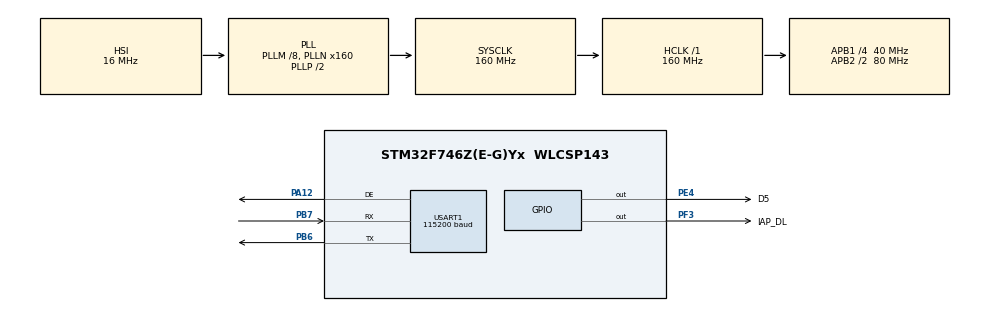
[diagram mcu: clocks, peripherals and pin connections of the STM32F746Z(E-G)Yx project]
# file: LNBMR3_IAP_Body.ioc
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Mcu.Family=STM32F7
Mcu.Name=STM32F746Z(E-G)Yx
Mcu.Package=WLCSP143
NVIC.PriorityGroup=NVIC_PRIORITYGROUP_3
NVIC.USART1_IRQn=true\:1\:1\:true\:false\:true\:true\:true
PA12.Mode=Hardware Flow Control (RS485)
PA12.Signal=USART1_DE
PA13.Mode=Serial_Wire
PA13.Signal=SYS_JTMS-SWDIO
PA14.Mode=Serial_Wire
PA14.Signal=SYS_JTCK-SWCLK
PB6.Mode=Asynchronous
PB6.Signal=USART1_TX
PB7.Mode=Asynchronous
PB7.Signal=USART1_RX
PC9.Signal=I2C3_SDA
PE4.GPIO_Label=D5
PE4.Signal=GPIO_Output
PF3.GPIO_Label=IAP_DL
PF3.GPIO_Speed=GPIO_SPEED_FREQ_VERY_HIGH
PF3.Signal=GPIO_Output
ProjectManager.HeapSize=0x200
ProjectManager.StackSize=0x400
ProjectManager.TargetToolchain=MDK-ARM V5
RCC.AHBFreq_Value=160000000
RCC.APB1CLKDivider=RCC_HCLK_DIV4
RCC.APB1Freq_Value=40000000
RCC.APB1TimFreq_Value=80000000
RCC.APB2CLKDivider=RCC_HCLK_DIV2
RCC.APB2Freq_Value=80000000
RCC.APB2TimFreq_Value=160000000
RCC.CortexFreq_Value=160000000
RCC.HCLKFreq_Value=160000000
RCC.HSE_VALUE=25000000
RCC.HSI_VALUE=16000000
RCC.LSE_VALUE=32768
RCC.PLLM=8
RCC.PLLN=160
RCC.SYSCLKFreq_VALUE=160000000
RCC.SYSCLKSource=RCC_SYSCLKSOURCE_PLLCLK
RCC.USART1CLockSelection=RCC_USART1CLKSOURCE_SYSCLK
RCC.USBFreq_Value=160000000
RCC.VCOOutputFreq_Value=320000000
USART1.BaudRate=115200
USART1.VirtualMode-Asynchronous=VM_ASYNC
USART1.VirtualMode-Hardware\ Flow\ Control\ (RS485)=VM_ASYNC
board=custom

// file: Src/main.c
/* USER CODE BEGIN Header */
/**
  ******************************************************************************
  * @file           : main.c
  * @brief          : Main program body
  ******************************************************************************
  * @attention
  *
  * <h2><center>&copy; Copyright (c) 2020 STMicroelectronics.
  * All rights reserved.</center></h2>
  *
  * This software component is licensed by ST under BSD 3-Clause license,
  * the "License"; You may not use this file except in compliance with the
  * License. You may obtain a copy of the License at:
  *                        opensource.org/licenses/BSD-3-Clause
  *
  ******************************************************************************
  */
/* USER CODE END Header */

#include "main.h"
#include "menu.h"
#include <stdio.h>
/* USER CODE BEGIN Includes */
#ifdef __GNUC__
/* With GCC/RAISONANCE, small printf (option LD Linker->Libraries->Small printf
   set to 'Yes') calls __io_putchar() */
#define PUTCHAR_PROTOTYPE int __io_putchar(int ch)
#else
#define PUTCHAR_PROTOTYPE int fputc(int ch, FILE *f)
#endif /* __GNUC__ */
/* USER CODE END Includes */
void SerialDownload(void);
void SerialUpload(void);

extern pFunction JumpToApplication;
extern uint32_t JumpAddress;
/* UART handler declaration */
GPIO_InitTypeDef GPIO_InitStruct;
UART_HandleTypeDef huart1;

void SystemClock_Config(void);
static void MX_GPIO_Init(void);
static void MX_USART1_UART_Init(void);

int main(void)
{

  /* MCU Configuration--------------------------------------------------------*/

  /* Reset of all peripherals, Initializes the Flash interface and the Systick. */
  HAL_Init();

  /* Configure the system clock */
  SystemClock_Config();

  /* Initialize all configured peripherals */
  MX_GPIO_Init();
  MX_USART1_UART_Init();
  /* USER CODE BEGIN 2 */
	/* Output a message on Hyperterminal using printf function */
//  printf("\n\r LNBMR3 V2 PCB IAP via RS485\n\r");
//  printf("** Test finished successfully. ** \n\r");
//	printf("** GPIO SWDL Init successfully, Enter loop. ** \n\r");
//	HAL_Delay(1000);

	/* Test if Key push-button on STM327x6G-EVAL RevB Board is pressed */
  if (HAL_GPIO_ReadPin(IAP_DL_GPIO_Port, IAP_DL_Pin) == GPIO_PIN_SET)
  {
    /* Execute the IAP driver in order to reprogram the Flash */
    //IAP_Init();
    /* Display main menu */
    Main_Menu ();
  }
  /* Keep the user application running */
  else
  {

		/* Test if user code is programmed starting from address "APPLICATION_ADDRESS" */
		if (((*(__IO uint32_t*)APPLICATION_ADDRESS) & 0x2FFE0000 ) == 0x20000000)
    {
      //printf("**App Stack Pointer check loop\n\r");
			/* Jump to user application */
			//printf("**Jump to user application\n\r");
      JumpAddress = *(__IO uint32_t*) (APPLICATION_ADDRESS + 4);
      JumpToApplication = (pFunction) JumpAddress;
      /* Initialize user application's Stack Pointer */
      __set_MSP(*(__IO uint32_t*) APPLICATION_ADDRESS);
			//printf("**Initialize user application's Stack Pointer\n\r");
      JumpToApplication();
			//printf("**JumpToApplication\n\r");
    }
		else
		{
			printf("**App Stack Pointer check Fail\n\r");
		}
  }
  /* USER CODE END 2 */

  /* Infinite loop */
  while (1)
  {

  }
}

void SystemClock_Config(void)
{
  RCC_OscInitTypeDef RCC_OscInitStruct = {0};
  RCC_ClkInitTypeDef RCC_ClkInitStruct = {0};
  RCC_PeriphCLKInitTypeDef PeriphClkInitStruct = {0};

  /** Configure the main internal regulator output voltage
  */
  __HAL_RCC_PWR_CLK_ENABLE();
  __HAL_PWR_VOLTAGESCALING_CONFIG(PWR_REGULATOR_VOLTAGE_SCALE2);
  /** Initializes the CPU, AHB and APB busses clocks
  */
  RCC_OscInitStruct.OscillatorType = RCC_OSCILLATORTYPE_HSI;
  RCC_OscInitStruct.HSIState = RCC_HSI_ON;
  RCC_OscInitStruct.HSICalibrationValue = RCC_HSICALIBRATION_DEFAULT;
  RCC_OscInitStruct.PLL.PLLState = RCC_PLL_ON;
  RCC_OscInitStruct.PLL.PLLSource = RCC_PLLSOURCE_HSI;
  RCC_OscInitStruct.PLL.PLLM = 8;
  RCC_OscInitStruct.PLL.PLLN = 160;
  RCC_OscInitStruct.PLL.PLLP = RCC_PLLP_DIV2;
  RCC_OscInitStruct.PLL.PLLQ = 2;
  if (HAL_RCC_OscConfig(&RCC_OscInitStruct) != HAL_OK)
  {
    Error_Handler();
  }
  /** Initializes the CPU, AHB and APB busses clocks
  */
  RCC_ClkInitStruct.ClockType = RCC_CLOCKTYPE_HCLK|RCC_CLOCKTYPE_SYSCLK
                              |RCC_CLOCKTYPE_PCLK1|RCC_CLOCKTYPE_PCLK2;
  RCC_ClkInitStruct.SYSCLKSource = RCC_SYSCLKSOURCE_PLLCLK;
  RCC_ClkInitStruct.AHBCLKDivider = RCC_SYSCLK_DIV1;
  RCC_ClkInitStruct.APB1CLKDivider = RCC_HCLK_DIV4;
  RCC_ClkInitStruct.APB2CLKDivider = RCC_HCLK_DIV2;

  if (HAL_RCC_ClockConfig(&RCC_ClkInitStruct, FLASH_LATENCY_5) != HAL_OK)
  {
    Error_Handler();
  }
  PeriphClkInitStruct.PeriphClockSelection = RCC_PERIPHCLK_USART1;
  PeriphClkInitStruct.Usart1ClockSelection = RCC_USART1CLKSOURCE_SYSCLK;
  if (HAL_RCCEx_PeriphCLKConfig(&PeriphClkInitStruct) != HAL_OK)
  {
    Error_Handler();
  }
}

static void MX_USART1_UART_Init(void)
{

  huart1.Instance = USART1;
  huart1.Init.BaudRate = 115200;
  huart1.Init.WordLength = UART_WORDLENGTH_8B;
  huart1.Init.StopBits = UART_STOPBITS_1;
  huart1.Init.Parity = UART_PARITY_NONE;
  huart1.Init.Mode = UART_MODE_TX_RX;
  huart1.Init.HwFlowCtl = UART_HWCONTROL_NONE;
  huart1.Init.OverSampling = UART_OVERSAMPLING_16;
  huart1.Init.OneBitSampling = UART_ONE_BIT_SAMPLE_DISABLE;
  huart1.AdvancedInit.AdvFeatureInit = UART_ADVFEATURE_NO_INIT;
  if (HAL_RS485Ex_Init(&huart1, UART_DE_POLARITY_HIGH, 0, 0) != HAL_OK)
  {
    Error_Handler();
  }

}

static void MX_GPIO_Init(void)
{
  GPIO_InitTypeDef GPIO_InitStruct = {0};

  /* GPIO Ports Clock Enable */
  __HAL_RCC_GPIOB_CLK_ENABLE();
  __HAL_RCC_GPIOA_CLK_ENABLE();
  __HAL_RCC_GPIOE_CLK_ENABLE();
  __HAL_RCC_GPIOC_CLK_ENABLE();
  __HAL_RCC_GPIOF_CLK_ENABLE();

  /*Configure GPIO pin Output Level */
  HAL_GPIO_WritePin(D5_GPIO_Port, D5_Pin, GPIO_PIN_RESET);

  /*Configure GPIO pin Output Level */
  HAL_GPIO_WritePin(IAP_DL_GPIO_Port, IAP_DL_Pin, GPIO_PIN_SET);

  /*Configure GPIO pin : D5_Pin */
  GPIO_InitStruct.Pin = D5_Pin;
  GPIO_InitStruct.Mode = GPIO_MODE_OUTPUT_PP;
  GPIO_InitStruct.Pull = GPIO_NOPULL;
  GPIO_InitStruct.Speed = GPIO_SPEED_FREQ_LOW;
  HAL_GPIO_Init(D5_GPIO_Port, &GPIO_InitStruct);

  /*Configure GPIO pin : PC9 */
  GPIO_InitStruct.Pin = GPIO_PIN_9;
  GPIO_InitStruct.Mode = GPIO_MODE_AF_OD;
  GPIO_InitStruct.Pull = GPIO_PULLUP;
  GPIO_InitStruct.Speed = GPIO_SPEED_FREQ_VERY_HIGH;
  GPIO_InitStruct.Alternate = GPIO_AF4_I2C3;
  HAL_GPIO_Init(GPIOC, &GPIO_InitStruct);

  /*Configure GPIO pin : IAP_DL_Pin */
  GPIO_InitStruct.Pin = IAP_DL_Pin;
  GPIO_InitStruct.Mode = GPIO_MODE_INPUT;
  GPIO_InitStruct.Pull = GPIO_NOPULL;
  GPIO_InitStruct.Speed = GPIO_SPEED_FREQ_VERY_HIGH;
  HAL_GPIO_Init(IAP_DL_GPIO_Port, &GPIO_InitStruct);

}

/* USER CODE BEGIN 4 */
PUTCHAR_PROTOTYPE
{
  /* Place your implementation of fputc here */
  /* e.g. write a character to the USART3 and Loop until the end of transmission */
  HAL_UART_Transmit(&UartHandle, (uint8_t *)&ch, 1, 0xFFFF);

  return ch;
}

/* USER CODE END 4 */

void Error_Handler(void)
{
}

/************************ (C) COPYRIGHT STMicroelectronics *****END OF FILE****/
